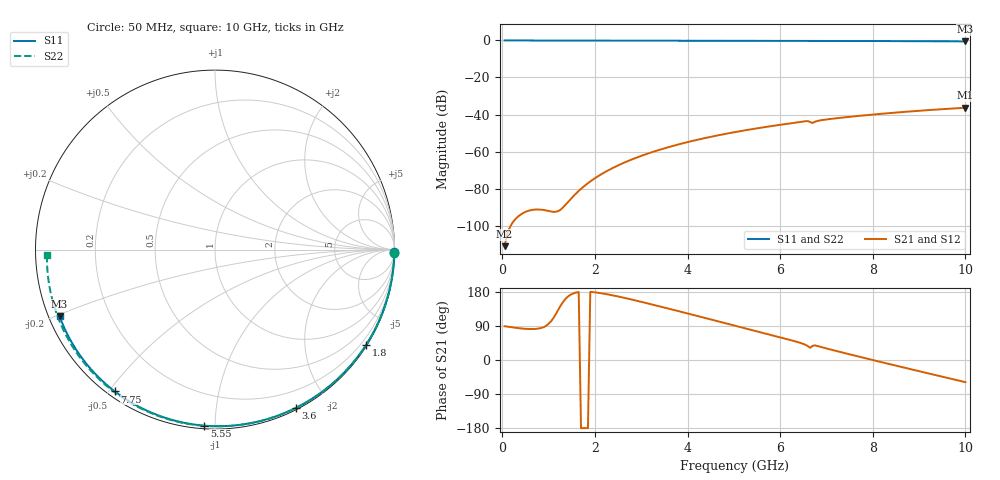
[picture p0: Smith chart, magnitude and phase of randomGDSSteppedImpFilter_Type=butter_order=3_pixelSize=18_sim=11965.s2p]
! freq	dB(S11)	phase(S11)	dB(S12)	phase(S12)
!  dB(S21)	phase(S21)	dB(S22)	phase(S22)
!S-par simulation data
#  GHz  S  DB  R 50
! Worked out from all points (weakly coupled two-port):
!   200 points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, 50 MHz to 10 GHz, reference 50 ohm
!   highest |S21| = -36.36 dB at 10 GHz (marker M1); lowest = -111.1 dB at 50 MHz (marker M2)
!   lowest |S11| = -0.5 dB at 10 GHz (marker M3), VSWR 33.58, Z = 1.55 - j10.3 ohm
!   |S11| at or under -10 dB: nowhere
!   |S22| runs from -0.6 to 0.0 dB; largest |S21 - S12| = 0
!   S11 on the Smith chart (normalised r, x): 50 MHz: open; 1.8 GHz: 0.03, -3.45; 3.6 GHz: 0.02, -1.63; 5.55 GHz: 0.02, -0.94; 7.75 GHz: 0.02, -0.52; 10 GHz: 0.03, -0.21
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0.05  -0.00 -0.9  -111.13 89.1  -111.13 89.1  -0.00 -1.0
0.85  -0.02 -15.4  -91.44 84.8  -91.44 84.8  -0.02 -17.3
1.7  -0.04 -30.6  -80.15 -180.0  -80.15 -180.0  -0.04 -34.3
1.75  -0.04 -31.5  -79.08 -179.6  -79.08 -179.6  -0.04 -35.3
1.8  -0.04 -32.3  -78.06 -179.6  -78.06 -179.6  -0.05 -36.2
2.1  -0.05 -37.6  -72.83 176.9  -72.83 176.9  -0.05 -42.1
2.45  -0.06 -43.6  -68.09 168.9  -68.09 168.9  -0.06 -48.8
2.9  -0.07 -51.3  -63.28 156.5  -63.28 156.5  -0.07 -57.4
3.4  -0.08 -59.6  -59.03 141.5  -59.03 141.5  -0.09 -66.7
3.6  -0.08 -62.9  -57.55 135.3  -57.55 135.3  -0.09 -70.3
4.3  -0.10 -74.2  -53.15 113.4  -53.15 113.4  -0.12 -82.9
5.05  -0.13 -85.9  -49.38 89.8  -49.38 89.8  -0.15 -95.9
5.55  -0.15 -93.5  -47.27 74.0  -47.27 74.0  -0.17 -104.3
6.55  -0.20 -108.2  -43.63 40.0  -43.63 40.0  -0.23 -120.9
6.6  -0.21 -108.9  -43.55 36.4  -43.55 36.4  -0.24 -121.7
6.7  -0.22 -110.3  -44.57 37.4  -44.57 37.4  -0.25 -123.2
6.8  -0.22 -111.7  -43.52 37.2  -43.52 37.2  -0.25 -124.8
6.95  -0.23 -113.9  -42.84 32.1  -42.84 32.1  -0.26 -127.3
7.75  -0.29 -125.2  -40.62 7.4  -40.62 7.4  -0.32 -140.3
8.35  -0.34 -133.6  -39.26 -10.5  -39.26 -10.5  -0.38 -150.1
9.2  -0.42 -145.5  -37.62 -35.4  -37.62 -35.4  -0.47 -164.2
10  -0.52 -156.8  -36.36 -58.5  -36.36 -58.5  -0.57 -178.2
